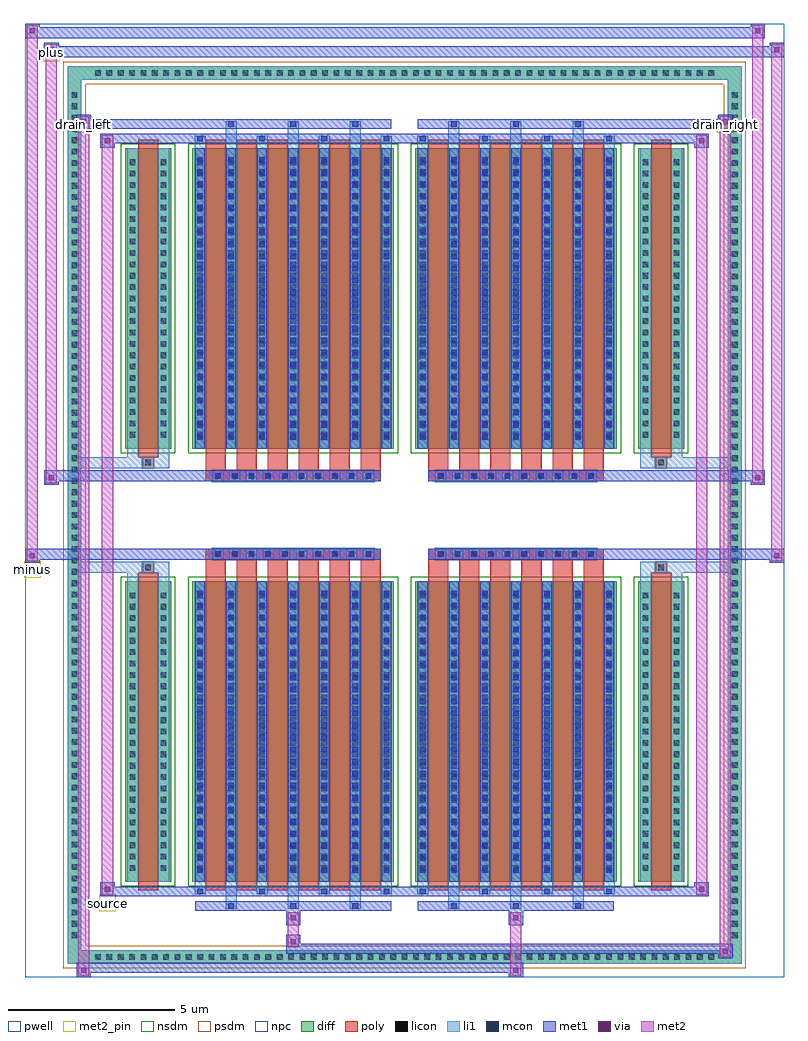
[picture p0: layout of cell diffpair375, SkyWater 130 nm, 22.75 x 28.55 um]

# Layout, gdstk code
import gdstk
lib = gdstk.Library(unit=1e-6, precision=5e-09)
def R(c, l, rs):  # rectangles x0, y0, x1, y1
    for r in rs: c.add(gdstk.rectangle(r[:2], r[2:], *l))
def A(c, l, x, y, w, h, nx, ny, dx, dy):  # array of equal rectangles
    R(c, l, [(x+i*dx, y+j*dy, x+i*dx+w, y+j*dy+h) for i in range(nx) for j in range(ny)])
def P(c, l, *ps):  # polygons
    for p in ps: c.add(gdstk.Polygon(p, *l))
pwell = (64, 44)
diff = (65, 20)
poly = (66, 20)
licon = (66, 44)
li1 = (67, 20)
mcon = (67, 44)
met1 = (68, 20)
via = (68, 44)
met2_pin = (69, 16)
met2 = (69, 20)
nsdm = (93, 44)
psdm = (94, 20)
npc = (95, 20)

diffpair375 = lib.new_cell('diffpair375')
R(diffpair375, pwell, [(-11.36,-13.84,11.36,14.71), (-8.68,-12.03,-0.01,-0.805), (0.01,-12.03,8.68,-0.805), (-8.68,0.805,-0.01,12.03), (0.01,0.805,8.68,12.03)])
A(diffpair375, diff, -9.385, -13.44, 0.41, 0.41, 55, 2, 0.34, 26.47)
A(diffpair375, diff, -10.09, -12.785, 0.41, 0.41, 1, 75, 0, 0.34)
A(diffpair375, diff, 9.68, -12.785, 0.41, 0.41, 1, 75, 0, 0.34)
R(diffpair375, diff, [(-9.385,-13.44,9.385,-13.03), (-10.09,-12.785,-9.68,12.785), (9.68,-12.785,10.09,12.785), (-8.37,-10.985,-6.99,-1.985), (-6.35,-10.985,-0.32,-1.985), (0.32,-10.985,6.35,-1.985), (6.99,-10.985,8.37,-1.985), (-8.37,1.985,-6.99,10.985), (-6.35,1.985,-0.32,10.985), (0.32,1.985,6.35,10.985), (6.99,1.985,8.37,10.985), (-9.385,13.03,9.385,13.44)])
P(diffpair375, diff, [(10.09,13.44),(-10.09,13.44),(-10.09,-13.03),(-9.68,-13.03),(-9.68,13.03),(9.68,13.03),(9.68,-13.03),(-9.68,-13.03),(-10.09,-13.03),(-10.09,-13.44),(10.09,-13.44)])
A(diffpair375, poly, -5.96, -11.235, 0.6, 9.5, 6, 2, 0.93, 12.97)
A(diffpair375, poly, 0.71, -11.235, 0.6, 9.5, 6, 2, 0.93, 12.97)
A(diffpair375, poly, -5.96, -1.735, 0.6, 0.4, 6, 2, 0.93, 3.07)
A(diffpair375, poly, 0.71, -1.735, 0.6, 0.4, 6, 2, 0.93, 3.07)
A(diffpair375, poly, -5.75, -1.335, 0.33, 0.33, 10, 2, 0.5, 2.34)
A(diffpair375, poly, 0.92, -1.335, 0.33, 0.33, 10, 2, 0.5, 2.34)
R(diffpair375, poly, [(-7.98,-11.235,-7.38,-1.735), (7.38,-11.235,7.98,-1.735), (-7.845,-1.735,-7.515,-1.405), (-7.845,-1.735,-7.515,-1.405), (7.515,-1.735,7.845,-1.405), (7.515,-1.735,7.845,-1.405), (-5.96,-1.335,-0.71,-1.005), (0.71,-1.335,5.96,-1.005), (-5.96,1.005,-0.71,1.335), (0.71,1.005,5.96,1.335), (-7.845,1.405,-7.515,1.735), (-7.845,1.405,-7.515,1.735), (7.515,1.405,7.845,1.735), (7.515,1.405,7.845,1.735), (-7.98,1.735,-7.38,11.235), (7.38,1.735,7.98,11.235)])
A(diffpair375, licon, -9.265, -13.32, 0.17, 0.17, 55, 2, 0.34, 26.47)
A(diffpair375, licon, -9.97, -12.665, 0.17, 0.17, 1, 75, 0, 0.34)
A(diffpair375, licon, 9.8, -12.665, 0.17, 0.17, 1, 75, 0, 0.34)
A(diffpair375, licon, -8.23, -10.65, 0.17, 0.17, 1, 25, 0, 0.34)
A(diffpair375, licon, -7.3, -10.65, 0.17, 0.17, 1, 25, 0, 0.34)
A(diffpair375, licon, -6.21, -10.65, 0.17, 0.17, 7, 25, 0.93, 0.34)
A(diffpair375, licon, 0.46, -10.65, 0.17, 0.17, 7, 25, 0.93, 0.34)
A(diffpair375, licon, 7.13, -10.65, 0.17, 0.17, 1, 25, 0, 0.34)
A(diffpair375, licon, 8.06, -10.65, 0.17, 0.17, 1, 25, 0, 0.34)
A(diffpair375, licon, -5.67, -1.255, 0.17, 0.17, 10, 2, 0.5, 2.34)
A(diffpair375, licon, 1, -1.255, 0.17, 0.17, 10, 2, 0.5, 2.34)
A(diffpair375, licon, -8.23, 2.32, 0.17, 0.17, 1, 25, 0, 0.34)
A(diffpair375, licon, -7.3, 2.32, 0.17, 0.17, 1, 25, 0, 0.34)
A(diffpair375, licon, -6.21, 2.32, 0.17, 0.17, 7, 25, 0.93, 0.34)
A(diffpair375, licon, 0.46, 2.32, 0.17, 0.17, 7, 25, 0.93, 0.34)
A(diffpair375, licon, 7.13, 2.32, 0.17, 0.17, 1, 25, 0, 0.34)
A(diffpair375, licon, 8.06, 2.32, 0.17, 0.17, 1, 25, 0, 0.34)
R(diffpair375, licon, [(-7.765,-1.655,-7.595,-1.485), (7.595,-1.655,7.765,-1.485), (-7.765,1.485,-7.595,1.655), (7.595,1.485,7.765,1.655)])
A(diffpair375, li1, -9.345, -13.4, 0.33, 0.33, 55, 2, 0.34, 26.47)
A(diffpair375, li1, -10.05, -12.745, 0.33, 0.33, 1, 75, 0, 0.34)
A(diffpair375, li1, 9.72, -12.745, 0.33, 0.33, 1, 75, 0, 0.34)
A(diffpair375, li1, -5.36, -11.79, 0.33, 0.805, 3, 2, 1.86, 22.775)
A(diffpair375, li1, -5.28, -11.79, 0.17, 0.17, 3, 2, 1.86, 23.41)
A(diffpair375, li1, 1.31, -11.79, 0.33, 0.805, 3, 2, 1.86, 22.775)
A(diffpair375, li1, 1.39, -11.79, 0.17, 0.17, 3, 2, 1.86, 23.41)
A(diffpair375, li1, -6.29, -11.36, 0.33, 0.375, 4, 2, 1.86, 22.345)
A(diffpair375, li1, -6.21, -11.36, 0.17, 0.17, 4, 2, 1.86, 22.55)
A(diffpair375, li1, 0.38, -11.36, 0.33, 0.375, 4, 2, 1.86, 22.345)
A(diffpair375, li1, 0.46, -11.36, 0.17, 0.17, 4, 2, 1.86, 22.55)
A(diffpair375, li1, -6.29, -10.985, 0.33, 9, 7, 2, 0.93, 12.97)
A(diffpair375, li1, 0.38, -10.985, 0.33, 9, 7, 2, 0.93, 12.97)
A(diffpair375, li1, -8.31, -10.73, 0.33, 0.33, 1, 25, 0, 0.34)
A(diffpair375, li1, -7.38, -10.73, 0.33, 0.33, 1, 25, 0, 0.34)
A(diffpair375, li1, -6.29, -10.73, 0.33, 0.33, 7, 25, 0.93, 0.34)
A(diffpair375, li1, 0.38, -10.73, 0.33, 0.33, 7, 25, 0.93, 0.34)
A(diffpair375, li1, 7.05, -10.73, 0.33, 0.33, 1, 25, 0, 0.34)
A(diffpair375, li1, 7.98, -10.73, 0.33, 0.33, 1, 25, 0, 0.34)
A(diffpair375, li1, -6.21, -10.71, 0.17, 0.17, 7, 24, 0.93, 0.36)
A(diffpair375, li1, -6.21, -10.71, 0.17, 8.45, 7, 2, 0.93, 12.97)
A(diffpair375, li1, 0.46, -10.71, 0.17, 0.17, 7, 24, 0.93, 0.36)
A(diffpair375, li1, 0.46, -10.71, 0.17, 8.45, 7, 2, 0.93, 12.97)
A(diffpair375, li1, -5.75, -1.335, 0.33, 0.33, 10, 2, 0.5, 2.34)
A(diffpair375, li1, 0.92, -1.335, 0.33, 0.33, 10, 2, 0.5, 2.34)
A(diffpair375, li1, -8.31, 2.24, 0.33, 0.33, 1, 25, 0, 0.34)
A(diffpair375, li1, -7.38, 2.24, 0.33, 0.33, 1, 25, 0, 0.34)
A(diffpair375, li1, -6.29, 2.24, 0.33, 0.33, 7, 25, 0.93, 0.34)
A(diffpair375, li1, 0.38, 2.24, 0.33, 0.33, 7, 25, 0.93, 0.34)
A(diffpair375, li1, 7.05, 2.24, 0.33, 0.33, 1, 25, 0, 0.34)
A(diffpair375, li1, 7.98, 2.24, 0.33, 0.33, 1, 25, 0, 0.34)
A(diffpair375, li1, -6.21, 2.26, 0.17, 0.17, 7, 24, 0.93, 0.36)
A(diffpair375, li1, 0.46, 2.26, 0.17, 0.17, 7, 24, 0.93, 0.36)
R(diffpair375, li1, [(-10.09,-13.44,-9.68,-13.03), (-10.09,-13.44,-9.68,-13.03), (-9.68,-13.44,9.68,-13.03), (9.68,-13.44,10.09,-13.03), (9.68,-13.44,10.09,-13.03), (-10.09,-13.03,-9.68,13.03), (9.68,-13.03,10.09,13.03), (-8.31,-10.985,-7.98,-1.985), (-7.38,-10.985,-7.05,-1.985), (7.05,-10.985,7.38,-1.985), (7.98,-10.985,8.31,-1.985), (-8.31,-1.985,-7.98,-1.405), (-7.38,-1.985,-7.05,-1.405), (7.05,-1.985,7.38,-1.405), (7.98,-1.985,8.31,-1.405), (-10.09,-1.735,-7.845,-1.405), (-8.31,-1.735,-7.845,-1.405), (-7.845,-1.735,-7.515,-1.405), (-7.515,-1.735,-7.05,-1.405), (7.05,-1.735,7.515,-1.405), (7.515,-1.735,7.845,-1.405), (7.515,-1.735,10.09,-1.405), (7.845,-1.735,8.31,-1.405), (-10.09,1.405,-7.845,1.735), (-8.31,1.405,-7.845,1.735), (-8.31,1.405,-7.98,1.985), (-7.845,1.405,-7.515,1.735), (-7.515,1.405,-7.05,1.735), (-7.38,1.405,-7.05,1.985), (7.05,1.405,7.515,1.735), (7.05,1.405,7.38,1.985), (7.515,1.405,7.845,1.735), (7.515,1.405,10.09,1.735), (7.845,1.405,8.31,1.735), (7.98,1.405,8.31,1.985), (-8.31,1.985,-7.98,10.985), (-7.38,1.985,-7.05,10.985), (7.05,1.985,7.38,10.985), (7.98,1.985,8.31,10.985), (-10.09,13.03,-9.68,13.44), (-10.09,13.03,-9.68,13.44), (-9.68,13.03,9.68,13.44), (9.68,13.03,10.09,13.44), (9.68,13.03,10.09,13.44)])
A(diffpair375, mcon, -5.28, -11.79, 0.17, 0.17, 3, 2, 1.86, 23.41)
A(diffpair375, mcon, 1.39, -11.79, 0.17, 0.17, 3, 2, 1.86, 23.41)
A(diffpair375, mcon, -6.21, -11.36, 0.17, 0.17, 4, 2, 1.86, 22.55)
A(diffpair375, mcon, 0.46, -11.36, 0.17, 0.17, 4, 2, 1.86, 22.55)
A(diffpair375, mcon, -6.21, -10.71, 0.17, 0.17, 7, 24, 0.93, 0.36)
A(diffpair375, mcon, 0.46, -10.71, 0.17, 0.17, 7, 24, 0.93, 0.36)
A(diffpair375, mcon, -5.67, -1.255, 0.17, 0.17, 10, 2, 0.5, 2.34)
A(diffpair375, mcon, 1, -1.255, 0.17, 0.17, 10, 2, 0.5, 2.34)
A(diffpair375, mcon, -6.21, 2.26, 0.17, 0.17, 7, 24, 0.93, 0.36)
A(diffpair375, mcon, 0.46, 2.26, 0.17, 0.17, 7, 24, 0.93, 0.36)
A(diffpair375, met1, -5.34, -11.85, 0.29, 0.29, 3, 2, 1.86, 23.41)
A(diffpair375, met1, 1.33, -11.85, 0.29, 0.29, 3, 2, 1.86, 23.41)
A(diffpair375, met1, -6.27, -11.42, 0.29, 0.29, 4, 2, 1.86, 22.55)
A(diffpair375, met1, 0.4, -11.42, 0.29, 0.29, 4, 2, 1.86, 22.55)
A(diffpair375, met1, -6.27, -10.985, 0.29, 9, 7, 2, 0.93, 12.97)
A(diffpair375, met1, 0.4, -10.985, 0.29, 9, 7, 2, 0.93, 12.97)
A(diffpair375, met1, -6.27, -10.77, 0.29, 0.29, 7, 24, 0.93, 0.36)
A(diffpair375, met1, 0.4, -10.77, 0.29, 0.29, 7, 24, 0.93, 0.36)
A(diffpair375, met1, -5.73, -1.315, 0.29, 0.29, 10, 2, 0.5, 2.34)
A(diffpair375, met1, 0.94, -1.315, 0.29, 0.29, 10, 2, 0.5, 2.34)
A(diffpair375, met1, -6.27, 2.2, 0.29, 0.29, 7, 24, 0.93, 0.36)
A(diffpair375, met1, 0.4, 2.2, 0.29, 0.29, 7, 24, 0.93, 0.36)
R(diffpair375, met1, [(-9.82,-13.84,-9.39,-13.41), (3.12,-13.84,3.55,-13.41), (-9.82,-13.7,3.55,-13.41), (9.39,-13.27,9.82,-12.84), (-3.55,-13.13,9.82,-12.84), (-3.55,-12.99,-3.12,-12.56), (-3.55,-12.28,-3.12,-11.85), (3.12,-12.28,3.55,-11.85), (-6.27,-11.85,-0.4,-11.56), (0.4,-11.85,6.27,-11.56), (-9.11,-11.42,-8.68,-10.99), (-9.11,-11.42,-6.27,-11.13), (-6.27,-11.42,-0.4,-11.13), (-0.4,-11.42,0.4,-11.13), (0.4,-11.42,6.27,-11.13), (6.27,-11.42,9.11,-11.13), (8.68,-11.42,9.11,-10.99), (-11.36,-1.435,-10.93,-1.005), (10.93,-1.435,11.36,-1.005), (-11.36,-1.335,-0.71,-1.005), (-5.96,-1.335,-0.71,-1.005), (0.71,-1.335,5.96,-1.005), (0.71,-1.335,11.36,-1.005), (-10.79,0.905,-10.36,1.335), (10.36,0.905,10.79,1.335), (-10.79,1.005,-5.96,1.335), (-5.96,1.005,-0.71,1.335), (0.71,1.005,5.96,1.335), (5.96,1.005,10.79,1.335), (-9.11,10.99,-8.68,11.42), (8.68,10.99,9.11,11.42), (-9.11,11.13,-6.27,11.42), (-6.27,11.13,-0.4,11.42), (-0.4,11.13,0.4,11.42), (0.4,11.13,6.27,11.42), (6.27,11.13,9.11,11.42), (-9.82,11.56,-9.39,11.99), (-9.82,11.56,-6.27,11.85), (-6.27,11.56,-0.4,11.85), (0.4,11.56,6.27,11.85), (6.27,11.56,9.82,11.85), (9.39,11.56,9.82,11.99), (-10.79,13.71,-10.36,14.14), (-10.79,13.71,-8.68,14.04), (-8.68,13.71,8.68,14.04), (8.68,13.71,11.36,14.04), (10.93,13.71,11.36,14.14), (-11.36,14.28,-10.93,14.71), (-11.36,14.28,-8.68,14.61), (-8.68,14.28,8.68,14.61), (8.68,14.28,10.79,14.61), (10.36,14.28,10.79,14.71)])
R(diffpair375, via, [(-9.68,-13.7,-9.53,-13.55), (3.26,-13.7,3.41,-13.55), (9.53,-13.13,9.68,-12.98), (-3.41,-12.85,-3.26,-12.7), (-3.41,-12.14,-3.26,-11.99), (3.26,-12.14,3.41,-11.99), (-8.97,-11.28,-8.82,-11.13), (8.82,-11.28,8.97,-11.13), (-11.22,-1.295,-11.07,-1.145), (11.07,-1.295,11.22,-1.145), (-10.65,1.045,-10.5,1.195), (10.5,1.045,10.65,1.195), (-8.97,11.13,-8.82,11.28), (8.82,11.13,8.97,11.28), (-9.68,11.7,-9.53,11.85), (9.53,11.7,9.68,11.85), (-10.65,13.85,-10.5,14), (11.07,13.85,11.22,14), (-11.22,14.42,-11.07,14.57), (10.5,14.42,10.65,14.57)])
R(diffpair375, met2_pin, [(-9.145,-11.87,-8.645,-11.37), (-11.395,-1.885,-10.895,-1.385), (-9.855,11.44,-9.355,11.94), (9.355,11.44,9.855,11.94), (-10.825,13.59,-10.325,14.09)])
R(diffpair375, met2, [(-9.77,-13.79,-9.44,-13.46), (-9.77,-13.79,-9.44,11.94), (3.17,-13.79,3.5,-13.46), (3.17,-13.46,3.5,-12.23), (9.44,-13.22,9.77,-12.89), (9.44,-13.22,9.77,11.94), (-3.5,-12.94,-3.17,-12.61), (-3.5,-12.61,-3.17,-12.23), (-3.5,-12.23,-3.17,-11.9), (3.17,-12.23,3.5,-11.9), (-9.06,-11.37,-8.73,-11.04), (-9.06,-11.37,-8.73,11.37), (8.73,-11.37,9.06,-11.04), (8.73,-11.37,9.06,11.37), (-11.31,-1.385,-10.98,-1.055), (-11.31,-1.385,-10.98,14.66), (10.98,-1.385,11.31,-1.055), (10.98,-1.385,11.31,14.09), (-10.74,0.955,-10.41,1.285), (-10.74,0.955,-10.41,14.09), (10.41,0.955,10.74,1.285), (10.41,0.955,10.74,14.66), (-9.06,11.04,-8.73,11.37), (8.73,11.04,9.06,11.37), (-9.77,11.61,-9.44,11.94), (9.44,11.61,9.77,11.94), (-10.74,13.76,-10.41,14.09), (10.98,13.76,11.31,14.09), (-11.31,14.33,-10.98,14.66), (10.41,14.33,10.74,14.66)])
P(diffpair375, met2, [(11.31,-1.385),(11.31,-1.385),(11.31,-1.055),(11.31,-1.055)],
  [(11.31,13.76),(11.31,13.76),(11.31,14.09),(11.31,14.09)],
  [(-10.98,-1.385),(-10.98,-1.385),(-10.98,-1.055),(-10.98,-1.055)],
  [(-10.98,14.33),(-10.98,14.33),(-10.98,14.66),(-10.98,14.66)],
  [(10.74,0.955),(10.74,0.955),(10.74,1.285),(10.74,1.285)],
  [(10.74,14.33),(10.74,14.33),(10.74,14.66),(10.74,14.66)],
  [(-10.41,0.955),(-10.41,0.955),(-10.41,1.285),(-10.41,1.285)],
  [(-10.41,13.76),(-10.41,13.76),(-10.41,14.09),(-10.41,14.09)],
  [(-9.44,-13.79),(-9.44,-13.79),(-9.44,-13.46),(-9.44,-13.46)],
  [(-9.44,11.61),(-9.44,11.61),(-9.44,11.94),(-9.44,11.94)],
  [(9.77,-13.22),(9.77,-13.22),(9.77,-12.89),(9.77,-12.89)],
  [(9.77,11.61),(9.77,11.61),(9.77,11.94),(9.77,11.94)],
  [(-8.73,-11.37),(-8.73,-11.37),(-8.73,-11.04),(-8.73,-11.04)],
  [(-8.73,11.04),(-8.73,11.04),(-8.73,11.37),(-8.73,11.37)],
  [(9.06,-11.37),(9.06,-11.37),(9.06,-11.04),(9.06,-11.04)],
  [(9.06,11.04),(9.06,11.04),(9.06,11.37),(9.06,11.37)])
R(diffpair375, nsdm, [(-8.5,-11.115,-6.86,-1.855), (-6.48,-11.115,-0.19,-1.855), (0.19,-11.115,6.48,-1.855), (6.86,-11.115,8.5,-1.855), (-8.5,1.855,-6.86,11.115), (-6.48,1.855,-0.19,11.115), (0.19,1.855,6.48,11.115), (6.86,1.855,8.5,11.115)])
P(diffpair375, psdm, [(10.22,13.57),(-10.22,13.57),(-10.22,-12.9),(-9.55,-12.9),(-9.55,12.9),(9.55,12.9),(9.55,-12.9),(-9.55,-12.9),(-10.22,-12.9),(-10.22,-13.57),(10.22,-13.57)])
A(diffpair375, npc, -5.77, -1.355, 0.37, 0.37, 10, 2, 0.5, 2.34)
A(diffpair375, npc, 0.9, -1.355, 0.37, 0.37, 10, 2, 0.5, 2.34)
R(diffpair375, npc, [(-7.865,-1.755,-7.495,-1.385), (7.495,-1.755,7.865,-1.385), (-5.77,-1.355,-4.9,-0.985), (-5.77,-1.355,-4.9,-0.985), (-5.27,-1.355,-4.4,-0.985), (-5.27,-1.355,-4.4,-0.985), (-4.77,-1.355,-3.9,-0.985), (-4.77,-1.355,-3.9,-0.985), (-4.27,-1.355,-3.4,-0.985), (-4.27,-1.355,-3.4,-0.985), (-3.77,-1.355,-2.9,-0.985), (-3.77,-1.355,-2.9,-0.985), (-3.27,-1.355,-2.4,-0.985), (-3.27,-1.355,-2.4,-0.985), (-2.77,-1.355,-1.9,-0.985), (-2.77,-1.355,-1.9,-0.985), (-2.27,-1.355,-1.4,-0.985), (-2.27,-1.355,-1.4,-0.985), (-1.77,-1.355,-0.9,-0.985), (-1.77,-1.355,-0.9,-0.985), (0.9,-1.355,1.77,-0.985), (0.9,-1.355,1.77,-0.985), (1.4,-1.355,2.27,-0.985), (1.4,-1.355,2.27,-0.985), (1.9,-1.355,2.77,-0.985), (1.9,-1.355,2.77,-0.985), (2.4,-1.355,3.27,-0.985), (2.4,-1.355,3.27,-0.985), (2.9,-1.355,3.77,-0.985), (2.9,-1.355,3.77,-0.985), (3.4,-1.355,4.27,-0.985), (3.4,-1.355,4.27,-0.985), (3.9,-1.355,4.77,-0.985), (3.9,-1.355,4.77,-0.985), (4.4,-1.355,5.27,-0.985), (4.4,-1.355,5.27,-0.985), (4.9,-1.355,5.77,-0.985), (4.9,-1.355,5.77,-0.985), (-5.77,0.985,-4.9,1.355), (-5.77,0.985,-4.9,1.355), (-5.27,0.985,-4.4,1.355), (-5.27,0.985,-4.4,1.355), (-4.77,0.985,-3.9,1.355), (-4.77,0.985,-3.9,1.355), (-4.27,0.985,-3.4,1.355), (-4.27,0.985,-3.4,1.355), (-3.77,0.985,-2.9,1.355), (-3.77,0.985,-2.9,1.355), (-3.27,0.985,-2.4,1.355), (-3.27,0.985,-2.4,1.355), (-2.77,0.985,-1.9,1.355), (-2.77,0.985,-1.9,1.355), (-2.27,0.985,-1.4,1.355), (-2.27,0.985,-1.4,1.355), (-1.77,0.985,-0.9,1.355), (-1.77,0.985,-0.9,1.355), (0.9,0.985,1.77,1.355), (0.9,0.985,1.77,1.355), (1.4,0.985,2.27,1.355), (1.4,0.985,2.27,1.355), (1.9,0.985,2.77,1.355), (1.9,0.985,2.77,1.355), (2.4,0.985,3.27,1.355), (2.4,0.985,3.27,1.355), (2.9,0.985,3.77,1.355), (2.9,0.985,3.77,1.355), (3.4,0.985,4.27,1.355), (3.4,0.985,4.27,1.355), (3.9,0.985,4.77,1.355), (3.9,0.985,4.77,1.355), (4.4,0.985,5.27,1.355), (4.4,0.985,5.27,1.355), (4.9,0.985,5.77,1.355), (4.9,0.985,5.77,1.355), (-7.865,1.385,-7.495,1.755), (7.495,1.385,7.865,1.755)])
diffpair375.add(gdstk.Label('minus', (-11.145,-1.635), layer=69, texttype=5))
diffpair375.add(gdstk.Label('drain_right', (9.605,11.69), layer=69, texttype=5))
diffpair375.add(gdstk.Label('drain_left', (-9.605,11.69), layer=69, texttype=5))
diffpair375.add(gdstk.Label('source', (-8.895,-11.62), layer=69, texttype=5))
diffpair375.add(gdstk.Label('plus', (-10.575,13.84), layer=69, texttype=5))

lib.write_gds('diffpair375.gds')
